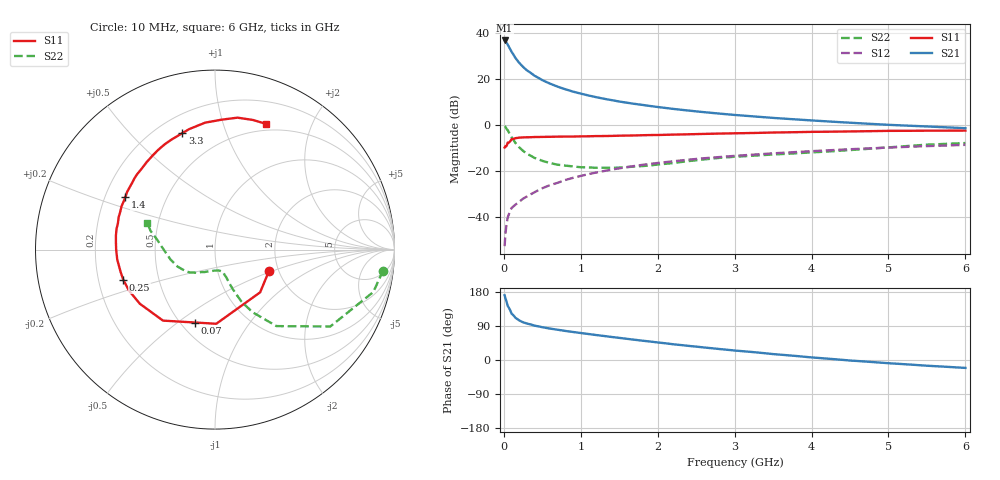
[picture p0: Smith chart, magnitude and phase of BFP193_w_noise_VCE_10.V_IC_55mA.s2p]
! (c) 2017  Infineon Technologies AG, Munich
! Infineon Technologies  Discrete & RF Semiconductors
! BFP193
! VCE =  10. V,  IC =  55 mA
! Common Emitter S-Parameters:  Jan 2017
# GHz  S  MA  R  50
!  f  S11  S21  S12  S22
! GHz  MAG  ANG  MAG  ANG  MAG  ANG  MAG  ANG
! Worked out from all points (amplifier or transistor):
!   77 points, 10 MHz to 6 GHz, reference 50 ohm
!   highest |S21| = 36.8 dB at 10 MHz (marker M1)
!   |S21| within 3 dB of that: start of sweep to 69.66 MHz
!   unconditionally stable (mu >= 1): 585.2 MHz to 2.393 GHz
!   at 130 MHz: K = 0.57, MSG = 32.8 dB, |S12| = -35.3 dB
!   at 2.2 GHz: K = 1.01, MAG = 10.7 dB, |S12| = -15.8 dB
!   at 6 GHz: K = 0.89, MSG = 3.6 dB, |S12| = -8.6 dB
!   lowest NFmin = 1.60 dB at 450 MHz
!   S11 on the Smith chart (normalised r, x): 10 MHz: 1.78, -0.48; 70 MHz: 0.59, -0.58; 250 MHz: 0.31, -0.15; 1.4 GHz: 0.28, +0.25; 3.3 GHz: 0.30, +0.71; 6 GHz: 0.43, +1.40
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0.01  0.3234 -21.8  69.37 170.8  0.0023 83.6  0.9439 -7.1
0.02  0.3463 -43.4  68.18 163.1  0.0041 82.3  0.9131 -15.0
0.05  0.4133 -89.0  56.44 142.8  0.0096 66.7  0.7721 -33.7
0.07  0.4213 -105.4  48.99 136.3  0.0119 63.0  0.6751 -39.3
0.1  0.4904 -126.2  39.51 122.4  0.0155 59.6  0.5468 -51.2
0.15  0.516 -144.2  28.92 111.4  0.0184 57.2  0.4078 -59.0
0.2  0.531 -154.5  22.57 104.5  0.0213 59.4  0.3264 -63.0
0.25  0.5379 -161.8  18.41 99.5  0.0249 60.2  0.2736 -64.6
0.3  0.5405 -166.7  15.48 96.2  0.0278 62.4  0.2361 -66.0
0.4  0.5475 -174.2  11.81 90.6  0.0344 65.1  0.1921 -67.1
0.5  0.5507 -179.9  9.495 86.5  0.042 66.2  0.1659 -67.9
0.6  0.5537 175.6  7.96 82.9  0.0491 67.0  0.1484 -69.3
0.7  0.5576 171.8  6.836 79.9  0.0552 67.6  0.1367 -70.0
0.9  0.5608 164.6  5.333 73.9  0.0709 67.2  0.1256 -74.5
1.1  0.5681 158.4  4.399 68.6  0.0852 66.3  0.119 -79.6
1.4  0.5791 149.5  3.484 60.8  0.1069 63.6  0.117 -90.8
2.1  0.6116 130.7  2.354 44.1  0.1555 55.8  0.1428 -118.6
3.1  0.6638 109.3  1.608 23.3  0.2183 43.8  0.2079 -146.6
3.3  0.6738 105.7  1.515 19.7  0.2298 41.5  0.2176 -151.2
4.1  0.7116 92.9  1.229 5.3  0.2748 32.4  0.2586 -169.9
5.1  0.7463 79.0  0.993 -9.7  0.3275 21.1  0.335 169.0
6  0.7562 67.8  0.853 -20.9  0.3698 11.0  0.4051 158.7
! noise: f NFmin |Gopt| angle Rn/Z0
0.45  1.6  0.45  -170  0.09
0.9  1.65  0.47  -163  0.09
1.9  2.29  0.62  -131  0.25
2.4  2.64  0.64  -118  0.51
